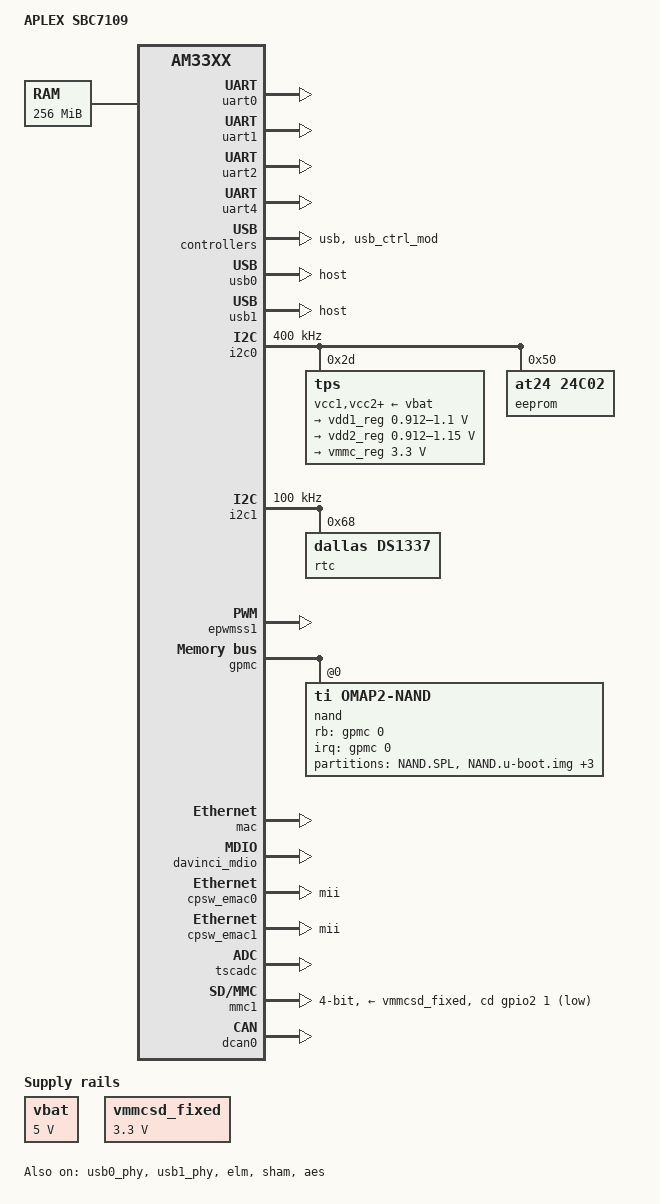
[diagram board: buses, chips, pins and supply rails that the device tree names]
/*
 * Copyright (C) 2012 Texas Instruments Incorporated - http://www.ti.com/
 *
 * This program is free software; you can redistribute it and/or modify
 * it under the terms of the GNU General Public License version 2 as
 * published by the Free Software Foundation.
 */
/dts-v1/;

#include "am33xx.dtsi"
#include <dt-bindings/interrupt-controller/irq.h>
/ {
	model = "APLEX SBC7109";
	compatible = "ti,am335x-sbc_7109_455", "ti,am33xx";

	chosen {
		linux,stdout-path = &uart0;
	};

	cpus {
		cpu@0 {
			cpu0-supply = <&vdd1_reg>;
		};
	};

	memory {
		device_type = "memory";
		//reg = <0x80000000 0x20000000>; /* 512 MB */
		reg = <0x80000000 0x10000000>; /* 256 MB */
	};

	vbat: fixedregulator@0 {
		compatible = "regulator-fixed";
		regulator-name = "vbat";
		regulator-min-microvolt = <5000000>;
		regulator-max-microvolt = <5000000>;
		regulator-boot-on;
	};

	vmmcsd_fixed: fixedregulator@0 {
		compatible = "regulator-fixed";
		regulator-name = "vmmcsd_fixed";
		regulator-min-microvolt = <3300000>;
		regulator-max-microvolt = <3300000>;
	};

    gpio_to_irq {
      compatible = "gpio_to_irq";
      gpio_nu = <44  IRQ_TYPE_EDGE_FALLING>;
    };
};

&am33xx_pinmux {
	i2c0_pins: pinmux_i2c0_pins {
		pinctrl-single,pins = <
			0x188 (PIN_INPUT_PULLUP | MUX_MODE0)	/* i2c0_sda.i2c0_sda */
			0x18c (PIN_INPUT_PULLUP | MUX_MODE0)	/* i2c0_scl.i2c0_scl */
		>;
	};

	i2c1_pins: pinmux_i2c1_pins {
		pinctrl-single,pins = <
			0x158 (PIN_INPUT_PULLUP | MUX_MODE2)	/* spi0_d1.i2c1_sda */
			0x15c (PIN_INPUT_PULLUP | MUX_MODE2)	/* spi0_cs0.i2c1_scl */
		>;
	};

	uart0_pins: pinmux_uart0_pins {
		pinctrl-single,pins = <
			0x170 (PIN_INPUT_PULLUP | MUX_MODE0)	/* uart0_rxd.uart0_rxd */
			0x174 (PIN_OUTPUT_PULLDOWN | MUX_MODE0)	/* uart0_txd.uart0_txd */

            /* board_gpio_config  */
            0x144 (MUX_MODE7)   /* J17 mii1_refclk.gpio0_29  AM335X_IO_LED1  */
            0xe0  (MUX_MODE7)   /* U5 lcd_vsync.gpio2_22  AM335X_IO_LED2  */
            0xe4  (MUX_MODE7)   /* R5 lcd_hsync.gpio2_23  AM335X_IO_LED3  */

            0x1ac (MUX_MODE7)  /* A14 mcasp0_ahclkx.gpio3_21   AM335X_GPIO0  */
            0x190 (MUX_MODE7)  /* A13 mcasp0_aclkx.gpio3_14    AM335X_GPIO1  */
            0x194 (MUX_MODE7)  /* B13 mcasp0_fsx.gpio3_15      AM335X_GPIO2  */
            0x198 (MUX_MODE7)  /* D12 mcasp0_axr0.gpio3_16     AM335X_GPIO3  */
            0x19c (MUX_MODE7)  /* C12 mcasp0_ahclkr.gpio3_17   AM335X_GPIO4  */
            0x1a0 (MUX_MODE7)  /* B12 mcasp0_aclkr.gpio3_18    AM335X_GPIO5  */
            0x1a4 (MUX_MODE7)  /* C13 mcasp0_fsr.gpio3_19      AM335X_GPIO6  */
            0x1a8 (MUX_MODE7)  /* D13 mcasp0_axr1.gpio3_20     AM335X_GPIO7  */
            0x1b0 (MUX_MODE7)  /* A15 xdma_event_intr0.gpio0_19     AM335X_GPIO8  */
            0x1b4 (MUX_MODE7)  /* D14 xdma_event_intr1.gpio0_20     AM335X_GPIO9  */

            0x30 (MUX_MODE7|PIN_INPUT_PULLUP)  /* T12 gpmc_ad12.gpio1_12  RESET_IP  */
            0x34 (MUX_MODE7)  /* R12 gpmc_ad13.gpio1_13  PMIC_PWR_INT  */
		>;
	};

	uart1_pins: pinmux_uart1_pins {
		pinctrl-single,pins = <
			0x180 (PIN_INPUT_PULLUP | MUX_MODE0)	/* uart1_rxd.uart1_rxd */
			0x184 (PIN_OUTPUT_PULLDOWN | MUX_MODE0)	/* uart1_txd.uart1_txd */
		>;
	};


    uart2_pins: pinmux_uart2_pins {
        pinctrl-single,pins = <
            0x150 (PIN_INPUT_PULLUP | MUX_MODE1)    /* spi0_sclk.uar */
            0x154 (PIN_OUTPUT_PULLDOWN | MUX_MODE1) /* spi0_d0.uart2 */
        >;
    };

	uart4_pins: uart4_pins {
		pinctrl-single,pins = <
			0x168 (PIN_INPUT_PULLUP | MUX_MODE1) /* uart0_ctsn.uart4_rxd */
			0x16c (PIN_OUTPUT_PULLDOWN | MUX_MODE1) /* uart0_rtsn.uart4_txd */
		>;
	};

	nandflash_pins_s0: nandflash_pins_s0 {
		pinctrl-single,pins = <
			0x0 (PIN_INPUT_PULLUP | MUX_MODE0)	/* gpmc_ad0.gpmc_ad0 */
			0x4 (PIN_INPUT_PULLUP | MUX_MODE0)	/* gpmc_ad1.gpmc_ad1 */
			0x8 (PIN_INPUT_PULLUP | MUX_MODE0)	/* gpmc_ad2.gpmc_ad2 */
			0xc (PIN_INPUT_PULLUP | MUX_MODE0)	/* gpmc_ad3.gpmc_ad3 */
			0x10 (PIN_INPUT_PULLUP | MUX_MODE0)	/* gpmc_ad4.gpmc_ad4 */
			0x14 (PIN_INPUT_PULLUP | MUX_MODE0)	/* gpmc_ad5.gpmc_ad5 */
			0x18 (PIN_INPUT_PULLUP | MUX_MODE0)	/* gpmc_ad6.gpmc_ad6 */
			0x1c (PIN_INPUT_PULLUP | MUX_MODE0)	/* gpmc_ad7.gpmc_ad7 */
			0x70 (PIN_INPUT_PULLUP | MUX_MODE0)	/* gpmc_wait0.gpmc_wait0 */
			0x7c (PIN_OUTPUT | MUX_MODE0)		/* gpmc_csn0.gpmc_csn0  */
			0x90 (PIN_OUTPUT | MUX_MODE0)		/* gpmc_advn_ale.gpmc_advn_ale */
			0x94 (PIN_OUTPUT | MUX_MODE0)		/* gpmc_oen_ren.gpmc_oen_ren */
			0x98 (PIN_OUTPUT | MUX_MODE0)		/* gpmc_wen.gpmc_wen */
			0x9c (PIN_OUTPUT | MUX_MODE0)		/* gpmc_be0n_cle.gpmc_be0n_cle */
		>;
	};

     emmc_pins: pinmux_emmc_pins {
   // 	pinctrl-single,pins = <
   // 		0x80 (PIN_INPUT_PULLUP | MUX_MODE2) /* gpmc_csn1.mmc1_clk */
   // 		0x84 (PIN_INPUT_PULLUP | MUX_MODE2) /* gpmc_csn2.mmc1_cmd */
   // 		0x00 (PIN_INPUT_PULLUP | MUX_MODE1) /* gpmc_ad0.mmc1_dat0 */
   // 		0x04 (PIN_INPUT_PULLUP | MUX_MODE1) /* gpmc_ad1.mmc1_dat1 */
   // 		0x08 (PIN_INPUT_PULLUP | MUX_MODE1) /* gpmc_ad2.mmc1_dat2 */
   // 		0x0c (PIN_INPUT_PULLUP | MUX_MODE1) /* gpmc_ad3.mmc1_dat3 */
   // 		0x10 (PIN_INPUT_PULLUP | MUX_MODE1) /* gpmc_ad4.mmc1_dat4 */
   // 		0x14 (PIN_INPUT_PULLUP | MUX_MODE1) /* gpmc_ad5.mmc1_dat5 */
   // 		0x18 (PIN_INPUT_PULLUP | MUX_MODE1) /* gpmc_ad6.mmc1_dat6 */
   // 		0x1c (PIN_INPUT_PULLUP | MUX_MODE1) /* gpmc_ad7.mmc1_dat7 */
   // 	>;
     };

	mmc1_pins: pinmux_mmc1_pins {
		pinctrl-single,pins = <
			0xf0 (PIN_INPUT_PULLUP | MUX_MODE0)	/* mmc0_dat3 */
			0xf4 (PIN_INPUT_PULLUP | MUX_MODE0)	/* mmc0_dat2 */
			0xf8 (PIN_INPUT_PULLUP | MUX_MODE0)	/* mmc0_dat1 */
			0xfc (PIN_INPUT_PULLUP | MUX_MODE0)	/* mmc0_dat0 */
			0x100 (PIN_INPUT_PULLUP | MUX_MODE0)	/* mmc0_clk */
			0x104 (PIN_INPUT_PULLUP | MUX_MODE0)	/* mmc0_cmd */
			0x8c (PIN_INPUT | MUX_MODE7)	/* gpmc_clk.gpio2_1  sd_cs */
		>;
	};

	ecap0_pins: backlight_pins {
		pinctrl-single,pins = <
			0x164 0x0	/* eCAP0_in_PWM0_out.eCAP0_in_PWM0_out MODE0 */
			0x178 ( PIN_OUTPUT_PULLUP | MUX_MODE7 ) /* (D18) uart1_ctsn.gpio0[12] LVDS_BLKT_ON s*/
		>;
	};


	cpsw_default: cpsw_default {
		pinctrl-single,pins = <
			/* Slave 1 */
			0x110 ( PIN_INPUT_PULLDOWN | MUX_MODE0 )    /* (J15) gmii1_rxer */
			0x114 ( PIN_OUTPUT         | MUX_MODE0 )	/* (J16) mii1_txen */
			0x118 ( PIN_INPUT_PULLDOWN | MUX_MODE0 )	/* (J17) mii1_rxdv */
			0x11c ( PIN_OUTPUT         | MUX_MODE0 )	/* (J18) mii1_txd3 */
			0x120 ( PIN_OUTPUT         | MUX_MODE0 )	/* (K15) mii1_txd2 */
			0x124 ( PIN_OUTPUT         | MUX_MODE0 )	/* (K16) mii1_txd1 */
			0x128 ( PIN_OUTPUT         | MUX_MODE0 )	/* (K17) mii1_txd0 */
			0x12c ( PIN_INPUT_PULLDOWN | MUX_MODE0 )	/* (K18) mii1_txclk */
			0x130 ( PIN_INPUT_PULLDOWN | MUX_MODE0 )	/* (L18) mii1_rxclk */
			0x134 ( PIN_INPUT_PULLDOWN | MUX_MODE0 )	/* (L17) mii1_rxd3 */
			0x138 ( PIN_INPUT_PULLDOWN | MUX_MODE0 )	/* (L16) mii1_rxd2 */
			0x13c ( PIN_INPUT_PULLDOWN | MUX_MODE0 )	/* (L15) mii1_rxd1 */
			0x140 ( PIN_INPUT_PULLDOWN | MUX_MODE0 )	/* (M16) mii1_rxd0 */
			0x74 ( PIN_INPUT_PULLDOWN  | MUX_MODE1 )    /* (U17) gpmc_wpn.gmii2_rxerr */
			0x40 ( PIN_OUTPUT          | MUX_MODE1 )    /* (R13) gpmc_a0.gmii2_txen */
			0x44 ( PIN_INPUT_PULLDOWN  | MUX_MODE1 )    /* (V14) gpmc_a1.gmii2_rxdv */
			0x58 ( PIN_INPUT_PULLDOWN  | MUX_MODE1 )    /* (U15) gpmc_a6.gmii2_txclk */
			0x5c ( PIN_INPUT_PULLDOWN  | MUX_MODE1 )    /* (T15) gpmc_a7.gmii2_rxclk */
			0x54 ( PIN_OUTPUT          | MUX_MODE1 )    /* (V15) gpmc_a5.gmii2_txd0 */
			0x50 ( PIN_OUTPUT          | MUX_MODE1 )    /* (R14) gpmc_a4.gmii2_txd1 */
			0x4c ( PIN_OUTPUT          | MUX_MODE1 )    /* (T14) gpmc_a3.gmii2_txd2 */
			0x48 ( PIN_OUTPUT          | MUX_MODE1 )    /* (U14) gpmc_a2.gmii2_txd3 */
			0x6c ( PIN_INPUT           | MUX_MODE1 )    /* (V17) gpmc_a11.gmii2_rxd0 */
			0x68 ( PIN_INPUT           | MUX_MODE1 )    /* (T16) gpmc_a10.gmii2_rxd1 */
			0x64 ( PIN_INPUT           | MUX_MODE1 )    /* (U16) gpmc_a9.gmii2_rxd2 */
			0x60 ( PIN_INPUT           | MUX_MODE1 )    /* (V16) gpmc_a8.gmii2_rxd3 */
		>;
	};

	cpsw_sleep: cpsw_sleep {
		pinctrl-single,pins = <
			/* Slave 1 reset value */
			0x114 (PIN_INPUT_PULLDOWN | MUX_MODE7)
			0x118 (PIN_INPUT_PULLDOWN | MUX_MODE7)
			0x11c (PIN_INPUT_PULLDOWN | MUX_MODE7)
			0x120 (PIN_INPUT_PULLDOWN | MUX_MODE7)
			0x124 (PIN_INPUT_PULLDOWN | MUX_MODE7)
			0x128 (PIN_INPUT_PULLDOWN | MUX_MODE7)
			0x12c (PIN_INPUT_PULLDOWN | MUX_MODE7)
			0x130 (PIN_INPUT_PULLDOWN | MUX_MODE7)
			0x134 (PIN_INPUT_PULLDOWN | MUX_MODE7)
			0x138 (PIN_INPUT_PULLDOWN | MUX_MODE7)
			0x13c (PIN_INPUT_PULLDOWN | MUX_MODE7)
			0x140 (PIN_INPUT_PULLDOWN | MUX_MODE7)
			0x78 ( PIN_INPUT_PULLDOWN | MUX_MODE7 ) /* (U18) gpmc_be1n.gmii2_col */
			0x74 ( PIN_INPUT_PULLDOWN | MUX_MODE7 ) /* (U17) gpmc_wpn.gmii2_rxer */
			0x40 ( PIN_INPUT_PULLDOWN | MUX_MODE7 ) /* (R13) gpmc_a0.gmii2_txen */
			0x44 ( PIN_INPUT_PULLDOWN | MUX_MODE7 ) /* (V14) gpmc_a1.gmii2_rxdv */
			0x58 ( PIN_INPUT_PULLDOWN | MUX_MODE7 ) /* (U15) gpmc_a6.gmii2_txclk */
			0x5c ( PIN_INPUT_PULLDOWN | MUX_MODE7 ) /* (T15) gpmc_a7.gmii2_rxclk */
			0x54 ( PIN_INPUT_PULLDOWN | MUX_MODE7 ) /* (V15) gpmc_a5.gmii2_txd0 */
			0x50 ( PIN_INPUT_PULLDOWN | MUX_MODE7 ) /* (R14) gpmc_a4.gmii2_txd1 */
			0x4c ( PIN_INPUT_PULLDOWN | MUX_MODE7 ) /* (T14) gpmc_a3.gmii2_txd2 */
			0x48 ( PIN_INPUT_PULLDOWN | MUX_MODE7 ) /* (U14) gpmc_a2.gmii2_txd3 */
			0x6c ( PIN_INPUT_PULLDOWN | MUX_MODE7 ) /* (V17) gpmc_a11.gmii2_rxd0 */
			0x68 ( PIN_INPUT_PULLDOWN | MUX_MODE7 ) /* (T16) gpmc_a10.gmii2_rxd1 */
			0x64 ( PIN_INPUT_PULLDOWN | MUX_MODE7 ) /* (U16) gpmc_a9.gmii2_rxd2 */
			0x60 ( PIN_INPUT_PULLDOWN | MUX_MODE7 ) /* (V16) gpmc_a8.gmii2_rxd3 */
		>;
	};

	davinci_mdio_default: davinci_mdio_default {
		pinctrl-single,pins = <
			/* MDIO */
			0x148 (PIN_INPUT_PULLUP | SLEWCTRL_FAST | MUX_MODE0)	/* mdio_data.mdio_data */
			0x14c (PIN_OUTPUT_PULLUP | MUX_MODE0)			/* mdio_clk.mdio_clk */
		>;
	};

	davinci_mdio_sleep: davinci_mdio_sleep {
		pinctrl-single,pins = <
			/* MDIO reset value */
			0x148 (PIN_INPUT_PULLDOWN | MUX_MODE7)
			0x14c (PIN_INPUT_PULLDOWN | MUX_MODE7)
		>;
	};

	am335x_io_buzz_pins_default: am335x_io_buzz_pins_default {
		pinctrl-single,pins = <
			0x160 ( PIN_INPUT | MUX_MODE2 ) /* (C15) spi0_cs1.eCAP1_in_PWM1_out */
		>;
	};

	mcasp1_pins: mcasp1_pins {
		pinctrl-single,pins = <
		>;
	};

	mcasp1_pins_sleep: mcasp1_pins_sleep {
		pinctrl-single,pins = <
		>;
	};

	dcan0_pins_default: dcan0_pins_default {
		pinctrl-single,pins = <
			0x178 (PIN_OUTPUT | MUX_MODE2)          /* D18 uart1_ctsn.d_can0_tx */
			0x17c (PIN_INPUT_PULLDOWN | MUX_MODE2)  /* D17 uart1_rtsn.d_can0_rx */
		>;
	};

};

&uart0 {
	pinctrl-names = "default";
	pinctrl-0 = <&uart0_pins>;

	status = "okay";
};

&uart1 {
	pinctrl-names = "default";
	pinctrl-0 = <&uart1_pins>;

	status = "okay";
};

&uart2 {
    pinctrl-names = "default";
    pinctrl-0 = <&uart2_pins>;

    status = "okay";
};

&uart4 {
    pinctrl-names = "default";
    pinctrl-0 = <&uart4_pins>;

    status = "okay";
};

&usb {
	status = "okay";
};

&usb_ctrl_mod {
	status = "okay";
};

&usb0_phy {
	status = "okay";
};


&usb1_phy {
	status = "okay";
};

&usb0 {
	status = "okay";
	dr_mode = "host";
};

&usb1 {
	status = "okay";
	dr_mode = "host";
};
&cppi41dma  {
	status = "okay";
};

&i2c0 {
	pinctrl-names = "default";
	pinctrl-0 = <&i2c0_pins>;

	status = "okay";
	clock-frequency = <400000>;

	tps: tps@2d {
		reg = <0x2d>;
	};

    eeprom@50 {
        compatible = "at24,24c02";
        reg = <0x50>;
    };
};

&i2c1 {
	pinctrl-names = "default";
	pinctrl-0 = <&i2c1_pins>;

	status = "okay";
	clock-frequency = <100000>;

    rtc@68 {
        compatible = "dallas,ds1337";
        reg = <0x68>;
    };
};

&lcdc {
	status = "disabled";
};

&elm {
	status = "okay";
};

&epwmss0 {
	status = "disabled";

	ecap0: ecap@48300100 {
		status = "okay";
		pinctrl-names = "default";
		pinctrl-0 = <&ecap0_pins>;
	};
};

&epwmss1 {
	status = "okay";

	ecap1: ecap@48302100 {
		status = "okay";
		pinctrl-names = "default";
		pinctrl-0 = <&am335x_io_buzz_pins_default>;
	};
};


&gpmc {
	status = "okay";
	pinctrl-names = "default";
	pinctrl-0 = <&nandflash_pins_s0>;
	ranges = <0 0 0x08000000 0x1000000>;	// CS0: 16MB for NAND
	nand@0,0 {
		compatible = "ti,omap2-nand";
		reg = <0 0 4>;                  // CS0, offset 0, IO size 4
		interrupt-parent = <&gpmc>;
		interrupts = <0 IRQ_TYPE_NONE>, // fifoevent
			     <1 IRQ_TYPE_NONE>;	    // termcount
		rb-gpios = <&gpmc 0 GPIO_ACTIVE_HIGH>; // gpmc_wait0
		ti,nand-ecc-opt = "bch8";
		ti,elm-id = <&elm>;
		nand-bus-width = <8>;
		gpmc,device-width = <1>;
		gpmc,sync-clk-ps = <0>;
		gpmc,cs-on-ns = <0>;
		gpmc,cs-rd-off-ns = <44>;
		gpmc,cs-wr-off-ns = <44>;
		gpmc,adv-on-ns = <6>;
		gpmc,adv-rd-off-ns = <34>;
		gpmc,adv-wr-off-ns = <44>;
		gpmc,we-on-ns = <0>;
		gpmc,we-off-ns = <40>;
		gpmc,oe-on-ns = <0>;
		gpmc,oe-off-ns = <54>;
		gpmc,access-ns = <64>;
		gpmc,rd-cycle-ns = <82>;
		gpmc,wr-cycle-ns = <82>;
		gpmc,bus-turnaround-ns = <0>;
		gpmc,cycle2cycle-delay-ns = <0>;
		gpmc,clk-activation-ns = <0>;
		gpmc,wr-access-ns = <40>;
		gpmc,wr-data-mux-bus-ns = <0>;
		// MTD partition table
		// All SPL-* partitions are sized to minimal length
		// which can be independently programmable. For
		// NAND flash this is equal to size of erase-block
		#address-cells = <1>;
		#size-cells = <1>;
		partition@0 {
			label = "NAND.SPL";
			reg = <0x00000000 0x000080000>;
		};
		partition@1 {
			label = "NAND.u-boot.img";
			reg = <0x00080000 0x00200000>;
		};
		partition@2 {
			label = "NAND.kernel.img";
			reg = <0x00280000 0x00480000>;
		};
		partition@3 {
			label = "NAND.kernel.dts";
			reg = <0x00700000 0x00080000>;
		};
		partition@4 {
			label = "NAND.rootfs.ubi";
			reg = <0x00780000 0x0F880000>;
		};
	};
};


#include "tps65910.dtsi"

&mcasp1 {
	#sound-dai-cells = <0>;
	pinctrl-names = "default", "sleep";
	pinctrl-0 = <&mcasp1_pins>;
	pinctrl-1 = <&mcasp1_pins_sleep>;

	status = "disabled";

	op-mode = <0>;          /* MCASP_IIS_MODE */
	tdm-slots = <2>;
	/* 4 serializers */
	//serial-dir = <  /* 0: INACTIVE, 1: TX, 2: RX */
	//	0 1 0 2
	//>;
	serial-dir = <  /* 0: INACTIVE, 1: TX, 2: RX */
		1 2 0 0
	>;
	tx-num-evt = <32>;
	rx-num-evt = <32>;
};

&tps {
	vcc1-supply = <&vbat>;
	vcc2-supply = <&vbat>;
	vcc3-supply = <&vbat>;
	vcc4-supply = <&vbat>;
	vcc5-supply = <&vbat>;
	vcc6-supply = <&vbat>;
	vcc7-supply = <&vbat>;
	vccio-supply = <&vbat>;

	regulators {
		vrtc_reg: regulator@0 {
			regulator-always-on;
		};

		vio_reg: regulator@1 {
			regulator-always-on;
		};

		vdd1_reg: regulator@2 {
			/* VDD_MPU voltage limits 0.95V - 1.26V with +/-4% tolerance */
			regulator-name = "vdd_mpu";
			regulator-min-microvolt = <912500>;
			regulator-max-microvolt = <1100000>;
			regulator-boot-on;
			regulator-always-on;
		};

		vdd2_reg: regulator@3 {
			/* VDD_CORE voltage limits 0.95V - 1.1V with +/-4% tolerance */
			regulator-name = "vdd_core";
			regulator-min-microvolt = <912500>;
			regulator-max-microvolt = <1150000>;
			regulator-boot-on;
			regulator-always-on;
		};

		vdd3_reg: regulator@4 {
			regulator-always-on;
		};

		vdig1_reg: regulator@5 {
			regulator-always-on;
		};

		vdig2_reg: regulator@6 {
			regulator-always-on;
		};

		vpll_reg: regulator@7 {
			regulator-always-on;
		};

		vdac_reg: regulator@8 {
			regulator-always-on;
		};

		vaux1_reg: regulator@9 {
			regulator-always-on;
		};

		vaux2_reg: regulator@10 {
			regulator-always-on;
		};

		vaux33_reg: regulator@11 {
			regulator-always-on;
		};

		vmmc_reg: regulator@12 {
			regulator-min-microvolt = <3300000>;
			regulator-max-microvolt = <3300000>;
			regulator-always-on;
		};
	};
};

&mac {
	pinctrl-names = "default", "sleep";
	pinctrl-0 = <&cpsw_default>;
	pinctrl-1 = <&cpsw_sleep>;
	dual_emac = <1>;
	status = "okay";
};

&davinci_mdio {
	pinctrl-names = "default", "sleep";
	pinctrl-0 = <&davinci_mdio_default>;
	pinctrl-1 = <&davinci_mdio_sleep>;
	status = "okay";
};

&cpsw_emac0 {
	phy_id = <&davinci_mdio>, <0>;
	phy-mode = "mii";
	dual_emac_res_vlan = <1>;
};

&cpsw_emac1 {
	phy_id = <&davinci_mdio>, <1>;
	phy-mode = "mii";
	dual_emac_res_vlan = <2>;
};

&tscadc {
	status = "okay";

    adc {
		ti,adc-channels = <0 1 2 3 >;
        ti,chan-step-opendelay = <0x98 0x98 0x98 0x98 >;
        ti,chan-step-sampledelay = <0x9 0x9 0x9   0x9>;
        ti,chan-step-avg = <0x03 0x03 0x03 0x03 >;
    };
};

&mmc1 {
	vmmc-supply = <&vmmcsd_fixed>;
	status = "okay";
	bus-width = <0x4>;
	pinctrl-names = "default";
	pinctrl-0 = <&mmc1_pins>;
	cd-gpios = <&gpio2 1 GPIO_ACTIVE_LOW>;
    max-frequency = <25000000>;
};

&mmc2 {
	vmmc-supply = <&vmmcsd_fixed>;
	pinctrl-names = "default";
	pinctrl-0 = <&emmc_pins>;
	bus-width = <8>;
	status = "disabled";
};

&sham {
	status = "okay";
};

&aes {
	status = "okay";
};

&dcan0 {
	status = "okay";
	pinctrl-names = "default";
	pinctrl-0 = <&dcan0_pins_default>;
};

&wkup_m3_ipc {
	ti,scale-data-fw = "am335x-evm-scale-data.bin";
};

&sgx {
	status = "disabled";
};
